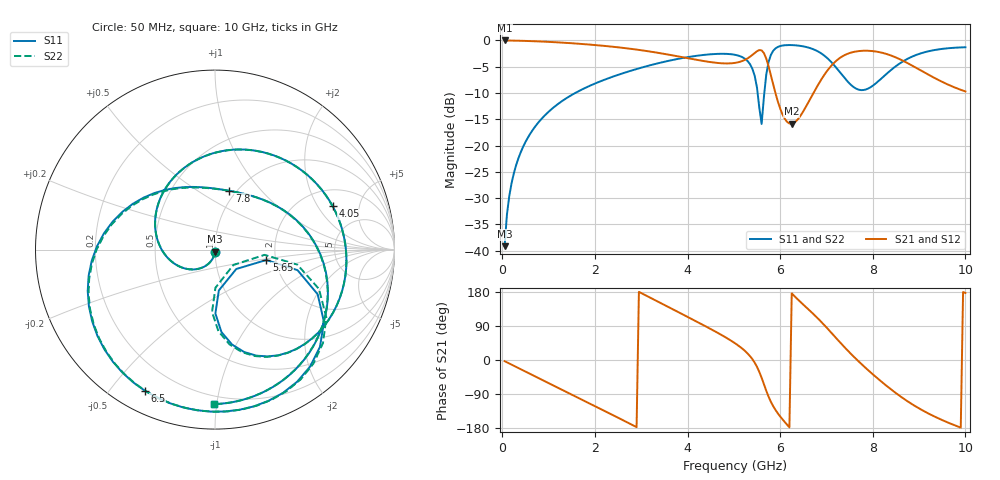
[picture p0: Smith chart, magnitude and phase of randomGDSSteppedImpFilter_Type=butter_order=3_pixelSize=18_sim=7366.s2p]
! freq	dB(S11)	phase(S11)	dB(S12)	phase(S12)
!  dB(S21)	phase(S21)	dB(S22)	phase(S22)
!S-par simulation data
#  GHz  S  DB  R 50
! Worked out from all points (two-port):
!   200 points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, 50 MHz to 10 GHz, reference 50 ohm
!   highest |S21| = -0.01 dB at 50 MHz (marker M1); lowest = -15.9 dB at 6.25 GHz (marker M2)
!   |S21| within 3 dB of the highest: start of sweep to 3.779 GHz; 7.348 GHz to 8.435 GHz (1.086 GHz wide, 13.8 % of centre) (the widest 2 of 3)
!   lowest |S11| = -39.1 dB at 50 MHz (marker M3), VSWR 1.02, Z = 50 - j1.1 ohm
!   |S11| at or under -10 dB: start of sweep to 1.576 GHz; 5.513 GHz to 5.658 GHz (144.9 MHz wide, 2.59 % of centre)
!   |S22| runs from -39.1 to -0.9 dB; largest |S21 - S12| = 0
!   S11 on the Smith chart (normalised r, x): 50 MHz: 1.00, -0.02; 4.05 GHz: 2.88, +2.73; 5.65 GHz: 1.78, -0.23; 6.5 GHz: 0.09, -0.61; 7.8 GHz: 0.93, +0.69; 10 GHz: 0.15, -0.98
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0.05  -39.15 -91.8  -0.01 -3.1  -0.01 -3.1  -39.15 -91.8
0.2  -27.18 -102.1  -0.03 -12.3  -0.03 -12.3  -27.18 -102.1
0.5  -19.34 -120.9  -0.09 -30.5  -0.09 -30.5  -19.34 -121.0
1.15  -12.45 -160.7  -0.34 -70.0  -0.34 -70.0  -12.45 -160.8
1.75  -9.21 162.9  -0.70 -106.4  -0.70 -106.4  -9.20 162.7
2.6  -6.26 110.8  -1.41 -158.5  -1.41 -158.5  -6.26 110.5
3.4  -4.27 61.0  -2.41 151.6  -2.41 151.6  -4.27 60.7
4.05  -3.11 20.3  -3.45 110.7  -3.45 110.7  -3.11 20.1
5.05  -2.78 -46.3  -4.24 42.2  -4.24 42.2  -2.79 -46.7
5.3  -3.95 -68.7  -3.40 16.9  -3.40 16.9  -3.98 -69.6
5.5  -8.97 -89.7  -2.05 -18.1  -2.05 -18.1  -9.17 -92.7
5.6  -15.90 -42.3  -1.90 -46.9  -1.90 -46.9  -17.49 -39.9
5.65  -10.70 -11.4  -2.42 -64.0  -2.42 -64.0  -11.13 -6.1
5.85  -1.97 -42.8  -8.39 -121.9  -8.39 -121.9  -1.99 -40.9
6.25  -0.89 -91.6  -15.86 175.8  -15.86 175.8  -0.88 -90.4
6.5  -1.13 -116.5  -13.48 146.1  -13.48 146.1  -1.12 -115.3
6.7  -1.62 -138.0  -10.31 123.4  -10.31 123.4  -1.61 -136.7
7.25  -5.61 151.0  -3.60 52.3  -3.60 52.3  -5.60 152.5
7.8  -9.44 76.3  -1.96 -15.8  -1.96 -15.8  -9.46 77.0
8.35  -5.96 15.2  -2.73 -73.3  -2.73 -73.3  -5.96 14.8
9  -2.57 -37.8  -5.53 -127.8  -5.53 -127.8  -2.56 -38.2
10  -1.30 -90.3  -9.71 177.0  -9.71 177.0  -1.30 -90.5
